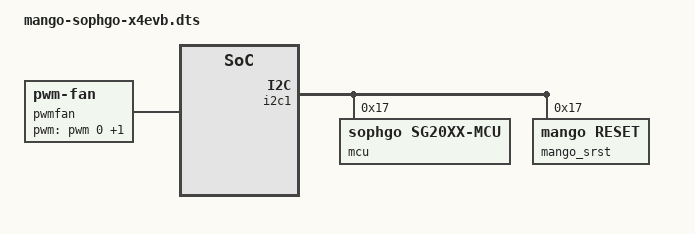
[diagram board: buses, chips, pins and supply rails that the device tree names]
#include "mango.dtsi"
#include "mango-pcie-3rc-v2.dtsi"

/ {
	info {
		file-name = "mango-sophgo-x4evb.dts";
	};
};

&i2c1 {
	mcu: sg2042mcu@17 {
		compatible = "sophgo,sg20xx-mcu";
		reg = <0x17>;
		#thermal-sensor-cells = <1>;
	};

	mango_srst: mango-reset@17 {
		compatible = "mango,reset";
		reg = <0x17>;
	};
};

&i2c2 {
	pinctrl-names = "default";
	pinctrl-0 = <&i2c2_acquire>;
};

&tach0 {
	pinctrl-names = "default";
	pinctrl-0 = <&fan0_acquire>;
};

&tach1 {
	pinctrl-names = "default";
	pinctrl-0 = <&fan1_acquire>;
};

&ethernet0 {
	max-speed = <1000>;
	eth-sophgo-config {
		autoneg = "enable";
	};
};

&soc {
	/delete-node/ flash-controller@7000180000;
};

/ {
	pwmfan: pwm-fan {
		compatible = "pwm-fan";
		pwms = <&pwm 0 40000>, <&pwm 1 40000>; // period_ns
		pwm-names = "pwm0","pwm1";
		pwm_inuse = "pwm0";
		#cooling-cells = <2>;
		cooling-levels = <102 127 178 229 254>;  //total 255
	};

	thermal_zones: thermal-zones {
		soc {
			polling-delay-passive = <1000>; /* milliseconds */
			polling-delay = <1000>; /* milliseconds */
			thermal-sensors = <&mcu 0>;

			trips {
				soc_pwmfan_trip1: soc_pwmfan_trip@1 {
					temperature = <40000>; /* millicelsius */
					hysteresis = <8000>; /* millicelsius */
					type = "active";
				};

				soc_pwmfan_trip2: soc_pwmfan_trip@2 {
					temperature = <58000>; /* millicelsius */
					hysteresis = <12000>; /* millicelsius */
					type = "active";
				};

				soc_pwmfan_trip3: soc_pwmfan_trip@3 {
					temperature = <70000>; /* millicelsius */
					hysteresis = <10000>; /* millicelsius */
					type = "active";
				};

				soc_pwmfan_trip4: soc_pwmfan_trip@4 {
					temperature = <85000>; /* millicelsius */
					hysteresis = <5000>; /* millicelsius */
					type = "active";
				};
			};

			cooling-maps {
				map0 {
					trip = <&soc_pwmfan_trip1>;
					cooling-device = <&pwmfan 0 1>;
				};

				map1 {
					trip = <&soc_pwmfan_trip2>;
					cooling-device = <&pwmfan 1 2>;
				};

				map2 {
					trip = <&soc_pwmfan_trip3>;
					cooling-device = <&pwmfan 2 3>;
				};

				map3 {
					trip = <&soc_pwmfan_trip4>;
					cooling-device = <&pwmfan 3 4>;
				};
			};

		};

		board {
			polling-delay-passive = <1000>; /* milliseconds */
			polling-delay = <1000>; /* milliseconds */
			thermal-sensors = <&mcu 1>;

			trips {
				board_pwmfan_trip1: board_pwmfan_trip@1 {
					temperature = <75000>; /* millicelsius */
					hysteresis = <8000>; /* millicelsius */
					type = "active";
				};
			};

			cooling-maps {
				map4 {
					trip = <&board_pwmfan_trip1>;
					cooling-device = <&pwmfan 3 4>;
				};
			};
		};
	};

};
